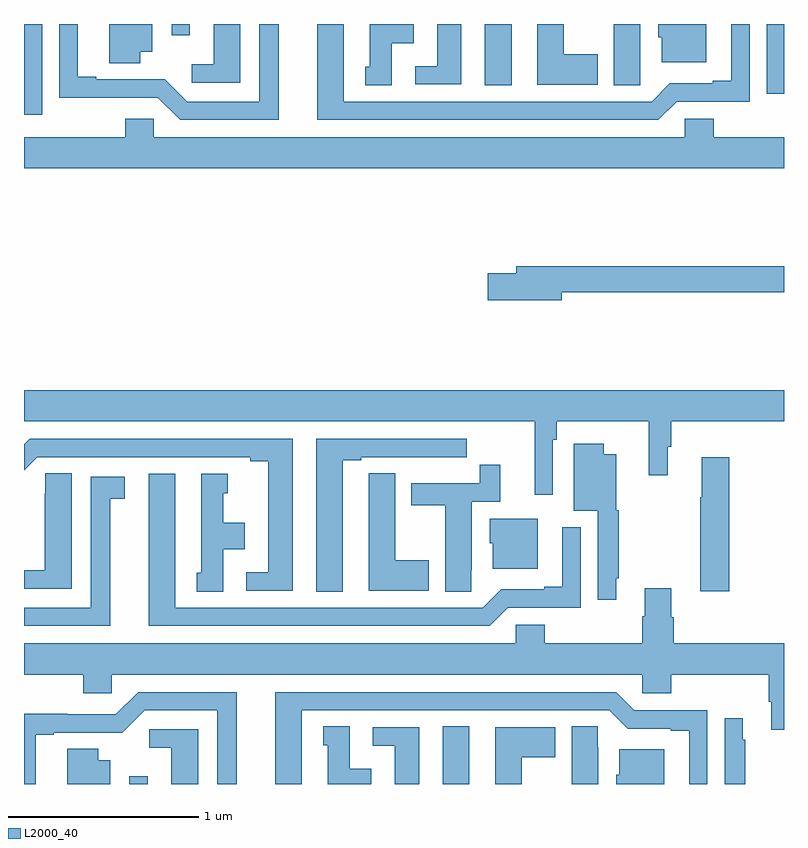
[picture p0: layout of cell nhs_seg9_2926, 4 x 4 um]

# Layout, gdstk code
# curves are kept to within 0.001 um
import gdstk
lib = gdstk.Library(unit=1e-6, precision=1e-09)
def R(c, l, rs):  # rectangles x0, y0, x1, y1
    for r in rs: c.add(gdstk.rectangle(r[:2], r[2:], *l))
def P(c, l, *ps):  # polygons
    for p in ps: c.add(gdstk.Polygon(p, *l))
L2000_40 = (2000, 40)

nhs_seg9_2926 = lib.new_cell('nhs_seg9_2926')
R(nhs_seg9_2926, L2000_40, [(279.555,1206.5,279.651,1206.541), (281.204,1206.5,281.344,1206.803), (279,1210.023,279.096,1210.5), (282.909,1210.134,283,1210.5), (281.426,1210.177,281.566,1210.5), (279.777,1210.44,279.873,1210.5)])
P(nhs_seg9_2926, L2000_40, [(282.019,1210.341),(281.842,1210.341),(281.842,1210.5),(281.702,1210.5),(281.702,1210.181),(282.019,1210.181)],
  [(280.936,1210.4),(281.05,1210.4),(281.05,1210.5),(280.82,1210.5),(280.82,1210.275),(280.796,1210.275),(280.796,1210.177),(280.936,1210.177)],
  [(282.243,1210.288),(282.244,1210.288),(282.244,1210.5),(282.104,1210.5),(282.104,1210.177),(282.243,1210.177)],
  [(282.592,1210.5),(282.338,1210.5),(282.338,1210.431),(282.356,1210.431),(282.356,1210.298),(282.592,1210.298)],
  [(282.435,1210.092),(282.819,1210.092),(282.819,1210.5),(282.722,1210.5),(282.722,1210.201),(282.626,1210.201),(282.626,1210.188),(282.399,1210.188),(282.303,1210.092),(280.684,1210.092),(280.684,1210.5),(280.544,1210.5),(280.544,1209.996),(282.339,1209.996)],
  [(279.613,1210.355),(279.676,1210.355),(279.676,1210.5),(279.449,1210.5),(279.449,1210.294),(279.613,1210.294)],
  [(280.138,1210.5),(279.998,1210.5),(279.998,1210.288),(279.882,1210.288),(279.882,1210.191),(280.138,1210.191)],
  [(280.342,1210.5),(280.238,1210.5),(280.238,1210.092),(279.858,1210.092),(279.74,1210.21),(279.379,1210.209),(279.379,1210.222),(279.283,1210.222),(279.283,1210.5),(279.186,1210.5),(279.186,1210.112),(279.705,1210.113),(279.822,1209.996),(280.342,1209.996)],
  [(281.302,1210.5),(281.174,1210.5),(281.174,1210.278),(281.058,1210.278),(281.058,1210.182),(281.302,1210.182)],
  [(283,1209.904),(282.629,1209.904),(282.629,1210.002),(282.477,1210.002),(282.477,1209.904),(279.684,1209.904),(279.684,1210.002),(279.533,1210.002),(279.533,1209.904),(279,1209.904),(279,1209.74),(283,1209.74)],
  [(281.83,1209.088),(283,1209.088),(283,1209.224),(281.591,1209.224),(281.591,1209.188),(281.442,1209.188),(281.442,1209.046),(281.83,1209.046)],
  [(281.784,1208.312),(281.804,1208.312),(281.804,1208.408),(282.289,1208.408),(282.289,1208.124),(282.388,1208.124),(282.388,1208.274),(282.407,1208.274),(282.407,1208.408),(283,1208.408),(283,1208.572),(279,1208.572),(279,1208.408),(281.687,1208.408),(281.687,1208.022),(281.784,1208.022)],
  [(280.414,1208.316),(279.029,1208.316),(279,1208.287),(279,1208.151),(279.069,1208.22),(280.19,1208.22),(280.19,1208.2),(280.286,1208.2),(280.286,1207.614),(280.17,1207.614),(280.17,1207.518),(280.414,1207.518)],
  [(280.678,1208.205),(280.774,1208.205),(280.774,1208.22),(281.05,1208.22),(281.05,1208.219),(281.216,1208.219),(281.216,1208.22),(281.329,1208.22),(281.329,1208.316),(280.538,1208.316),(280.538,1207.513),(280.678,1207.513)],
  [(282.118,1207.582),(282.13,1207.582),(282.13,1207.941),(282.118,1207.941),(282.118,1208.236),(282.052,1208.236),(282.052,1208.29),(281.894,1208.29),(281.894,1207.937),(282.021,1207.937),(282.021,1207.47),(282.118,1207.47)],
  [(282.713,1208.221),(282.566,1208.221),(282.566,1208.008),(282.559,1208.008),(282.559,1207.515),(282.713,1207.515)],
  [(281.355,1207.624),(281.356,1207.624),(281.356,1207.986),(281.507,1207.986),(281.507,1208.179),(281.398,1208.179),(281.398,1208.082),(281.039,1208.082),(281.039,1207.966),(281.216,1207.966),(281.216,1207.513),(281.355,1207.513)],
  [(279.25,1208.135),(279.111,1208.135),(279.111,1208.027),(279.11,1208.027),(279.11,1207.624),(279,1207.624),(279,1207.527),(279.25,1207.527)],
  [(281.131,1207.677),(280.954,1207.677),(280.954,1208.135),(280.815,1208.135),(280.815,1208.027),(280.814,1208.027),(280.814,1207.517),(281.131,1207.517)],
  [(280.048,1207.736),(280.162,1207.736),(280.162,1207.876),(280.048,1207.876),(280.048,1208.031),(280.072,1208.031),(280.072,1208.134),(279.932,1208.134),(279.932,1207.611),(279.908,1207.611),(279.908,1207.513),(280.048,1207.513)],
  [(281.547,1207.428),(281.931,1207.428),(281.931,1207.852),(281.834,1207.852),(281.834,1207.537),(281.738,1207.537),(281.738,1207.524),(281.511,1207.524),(281.415,1207.428),(279.796,1207.428),(279.796,1208.134),(279.656,1208.134),(279.656,1207.332),(281.451,1207.332)],
  [(279.454,1208.002),(279.529,1208.002),(279.529,1208.118),(279.35,1208.118),(279.35,1207.428),(279,1207.428),(279,1207.332),(279.454,1207.332)],
  [(281.704,1207.897),(281.45,1207.897),(281.45,1207.767),(281.468,1207.767),(281.468,1207.634),(281.704,1207.634)],
  [(283,1207.24),(282.419,1207.24),(282.419,1207.377),(282.406,1207.377),(282.406,1207.531),(282.266,1207.531),(282.266,1207.382),(282.254,1207.382),(282.254,1207.24),(281.741,1207.24),(281.741,1207.338),(281.589,1207.338),(281.589,1207.24),(279,1207.24),(279,1207.076),(279.311,1207.076),(279.311,1206.978),(279.462,1206.978),(279.462,1207.076),(282.255,1207.076),(282.255,1206.978),(282.407,1206.978),(282.407,1207.076),(282.92,1207.076),(282.92,1206.934),(282.932,1206.934),(282.932,1206.786),(283,1206.786)],
  [(279.061,1206.759),(279.157,1206.759),(279.157,1206.771),(279.518,1206.77),(279.636,1206.888),(280.016,1206.888),(280.016,1206.5),(280.12,1206.5),(280.12,1206.984),(279.6,1206.984),(279.483,1206.867),(279.227,1206.867),(279.227,1206.869),(279,1206.869),(279,1206.5),(279.061,1206.5)],
  [(280.462,1206.888),(282.081,1206.888),(282.177,1206.792),(282.404,1206.792),(282.404,1206.78),(282.5,1206.78),(282.5,1206.5),(282.597,1206.5),(282.597,1206.888),(282.213,1206.888),(282.117,1206.984),(280.322,1206.984),(280.322,1206.5),(280.462,1206.5)],
  [(282.796,1206.734),(282.784,1206.734),(282.784,1206.847),(282.687,1206.847),(282.687,1206.5),(282.796,1206.5)],
  [(282.022,1206.692),(282.021,1206.692),(282.021,1206.803),(281.882,1206.803),(281.882,1206.5),(282.022,1206.5)],
  [(280.828,1206.58),(280.714,1206.58),(280.714,1206.803),(280.574,1206.803),(280.574,1206.705),(280.598,1206.705),(280.598,1206.5),(280.828,1206.5)],
  [(281.62,1206.64),(281.797,1206.64),(281.797,1206.799),(281.48,1206.799),(281.48,1206.5),(281.62,1206.5)],
  [(281.08,1206.798),(280.836,1206.798),(280.836,1206.702),(280.952,1206.702),(280.952,1206.5),(281.08,1206.5)],
  [(279.916,1206.789),(279.66,1206.789),(279.66,1206.692),(279.776,1206.692),(279.776,1206.5),(279.916,1206.5)],
  [(279.454,1206.625),(279.391,1206.625),(279.391,1206.686),(279.227,1206.686),(279.227,1206.5),(279.454,1206.5)],
  [(282.37,1206.682),(282.134,1206.682),(282.134,1206.549),(282.116,1206.549),(282.116,1206.5),(282.37,1206.5)])

lib.write_gds('nhs_seg9_2926.gds')
